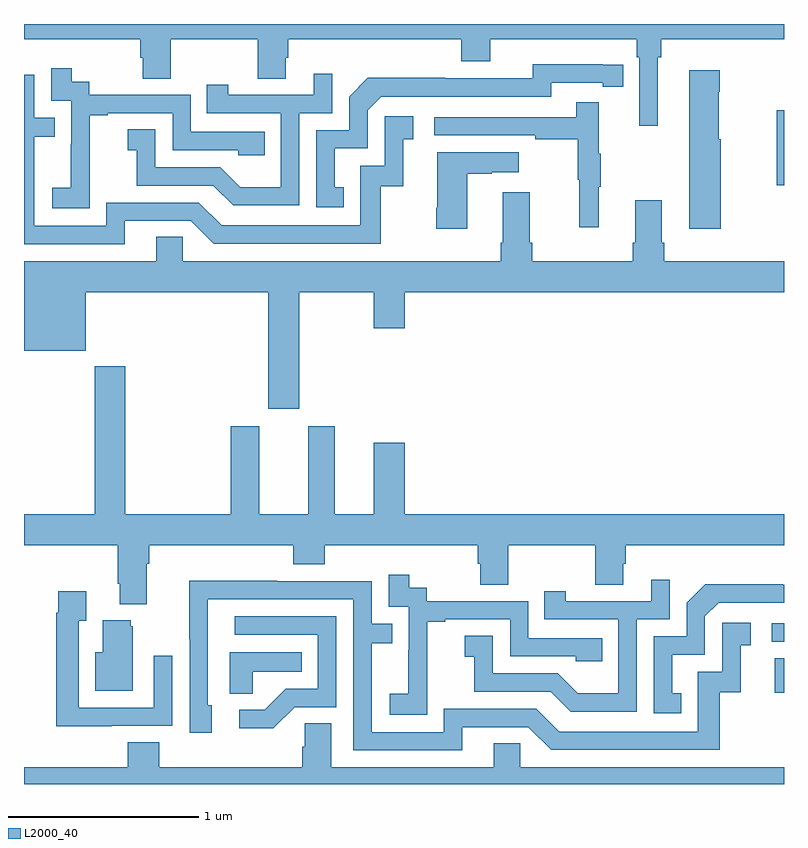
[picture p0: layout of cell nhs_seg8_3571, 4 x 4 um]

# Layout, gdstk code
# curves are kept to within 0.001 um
import gdstk
lib = gdstk.Library(unit=1e-6, precision=1e-09)
def R(c, l, rs):  # rectangles x0, y0, x1, y1
    for r in rs: c.add(gdstk.rectangle(r[:2], r[2:], *l))
def P(c, l, *ps):  # polygons
    for p in ps: c.add(gdstk.Polygon(p, *l))
L2000_40 = (2000, 40)

nhs_seg8_3571 = lib.new_cell('nhs_seg8_3571')
R(nhs_seg8_3571, L2000_40, [(334.952,1126.38,335,1126.561), (334.935,1126.65,335,1126.746), (334.963,1129.051,335,1129.447)])
P(nhs_seg8_3571, L2000_40, [(334.336,1129.724),(334.355,1129.724),(334.355,1129.82),(335,1129.82),(335,1129.9),(331,1129.9),(331,1129.82),(331.613,1129.82),(331.613,1129.722),(331.625,1129.722),(331.625,1129.612),(331.773,1129.612),(331.773,1129.82),(332.23,1129.82),(332.23,1129.612),(332.377,1129.612),(332.377,1129.722),(332.39,1129.722),(332.39,1129.82),(333.302,1129.82),(333.302,1129.703),(333.454,1129.703),(333.454,1129.82),(334.226,1129.82),(334.226,1129.724),(334.239,1129.724),(334.239,1129.365),(334.336,1129.365)],
  [(332.684,1129.041),(332.635,1129.041),(332.635,1129.245),(332.808,1129.245),(332.808,1129.446),(332.88,1129.518),(333.774,1129.518),(333.774,1129.59),(334.046,1129.59),(334.046,1129.57),(334.154,1129.57),(334.154,1129.686),(333.678,1129.687),(333.678,1129.614),(333.218,1129.614),(333.218,1129.616),(332.81,1129.616),(332.712,1129.518),(332.712,1129.341),(332.538,1129.341),(332.538,1128.936),(332.684,1128.936)],
  [(331.347,1129.135),(331.346,1129.135),(331.346,1129.419),(331.441,1129.419),(331.441,1129.431),(331.782,1129.431),(331.782,1129.236),(332.127,1129.236),(332.127,1129.209),(332.267,1129.209),(332.267,1129.332),(331.878,1129.332),(331.878,1129.527),(331.344,1129.527),(331.344,1129.596),(331.252,1129.596),(331.252,1129.666),(331.143,1129.666),(331.143,1129.497),(331.248,1129.497),(331.248,1129.268),(331.247,1129.268),(331.247,1129.039),(331.149,1129.039),(331.149,1128.929),(331.347,1128.929)],
  [(334.666,1129.293),(334.656,1129.293),(334.656,1129.544),(334.661,1129.544),(334.661,1129.657),(334.502,1129.657),(334.502,1128.822),(334.666,1128.822)],
  [(332.448,1129.431),(332.622,1129.431),(332.622,1129.639),(332.525,1129.639),(332.525,1129.527),(332.074,1129.527),(332.074,1129.579),(331.963,1129.579),(331.963,1129.431),(332.352,1129.431),(332.352,1129.042),(332.138,1129.042),(332.034,1129.146),(331.692,1129.146),(331.692,1129.345),(331.545,1129.345),(331.545,1129.235),(331.594,1129.235),(331.594,1129.05),(331.997,1129.05),(332.102,1128.945),(332.448,1128.945)],
  [(331.531,1128.864),(331.878,1128.864),(331.998,1128.744),(332.878,1128.744),(332.878,1129.047),(332.996,1129.047),(332.996,1129.293),(333.049,1129.293),(333.049,1129.414),(332.898,1129.414),(332.898,1129.155),(332.769,1129.155),(332.769,1128.84),(332.04,1128.84),(331.92,1128.96),(331.434,1128.96),(331.434,1128.837),(331.053,1128.837),(331.053,1129.306),(331.163,1129.306),(331.163,1129.407),(331.053,1129.407),(331.053,1129.632),(331,1129.632),(331,1128.741),(331.531,1128.741)],
  [(334.025,1129.043),(334.036,1129.043),(334.036,1129.217),(334.025,1129.217),(334.025,1129.489),(333.907,1129.489),(333.907,1129.41),(333.159,1129.41),(333.159,1129.314),(333.691,1129.314),(333.691,1129.294),(333.915,1129.294),(333.915,1129.08),(333.922,1129.08),(333.922,1128.831),(334.025,1128.831)],
  [(333.334,1129.111),(333.461,1129.111),(333.461,1129.121),(333.604,1129.121),(333.604,1129.225),(333.176,1129.225),(333.176,1128.934),(333.169,1128.934),(333.169,1128.822),(333.334,1128.822)],
  [(332.449,1128.488),(332.84,1128.488),(332.84,1128.3),(333.004,1128.3),(333.004,1128.488),(335,1128.488),(335,1128.652),(334.37,1128.652),(334.37,1128.748),(334.357,1128.748),(334.357,1128.973),(334.217,1128.973),(334.217,1128.748),(334.205,1128.748),(334.205,1128.652),(333.674,1128.652),(333.674,1128.748),(333.661,1128.748),(333.661,1129.015),(333.521,1129.015),(333.521,1128.748),(333.509,1128.748),(333.509,1128.652),(331.836,1128.652),(331.836,1128.779),(331.697,1128.779),(331.697,1128.652),(331,1128.652),(331,1128.179),(331.324,1128.179),(331.324,1128.488),(332.285,1128.488),(332.285,1127.874),(332.449,1127.874)],
  [(331.493,1126.954),(331.505,1126.954),(331.505,1126.847),(331.645,1126.847),(331.645,1127.06),(331.658,1127.06),(331.658,1127.156),(332.417,1127.156),(332.417,1127.057),(332.582,1127.057),(332.582,1127.156),(333.389,1127.156),(333.389,1127.058),(333.401,1127.058),(333.401,1126.948),(333.549,1126.948),(333.549,1127.156),(334.006,1127.156),(334.006,1126.948),(334.153,1126.948),(334.153,1127.058),(334.166,1127.058),(334.166,1127.156),(335,1127.156),(335,1127.32),(333.004,1127.32),(333.004,1127.695),(332.84,1127.695),(332.84,1127.32),(332.635,1127.32),(332.635,1127.782),(332.495,1127.782),(332.495,1127.32),(332.239,1127.32),(332.239,1127.782),(332.087,1127.782),(332.087,1127.32),(331.532,1127.32),(331.532,1128.1),(331.372,1128.1),(331.372,1127.32),(331,1127.32),(331,1127.156),(331.493,1127.156)],
  [(333.123,1126.471),(333.122,1126.471),(333.122,1126.755),(333.217,1126.755),(333.217,1126.767),(333.558,1126.767),(333.558,1126.572),(333.903,1126.572),(333.903,1126.545),(334.043,1126.545),(334.043,1126.668),(333.654,1126.668),(333.654,1126.863),(333.12,1126.863),(333.12,1126.932),(333.028,1126.932),(333.028,1127.002),(332.919,1127.002),(332.919,1126.833),(333.024,1126.833),(333.024,1126.604),(333.023,1126.604),(333.023,1126.375),(332.925,1126.375),(332.925,1126.265),(333.123,1126.265)],
  [(334.224,1126.767),(334.398,1126.767),(334.398,1126.975),(334.301,1126.975),(334.301,1126.863),(333.85,1126.863),(333.85,1126.915),(333.739,1126.915),(333.739,1126.767),(334.128,1126.767),(334.128,1126.378),(333.914,1126.378),(333.81,1126.482),(333.468,1126.482),(333.468,1126.681),(333.321,1126.681),(333.321,1126.571),(333.37,1126.571),(333.37,1126.386),(333.773,1126.386),(333.878,1126.281),(334.224,1126.281)],
  [(333.307,1126.2),(333.654,1126.2),(333.774,1126.08),(334.661,1126.08),(334.661,1126.383),(334.772,1126.383),(334.772,1126.629),(334.825,1126.629),(334.825,1126.75),(334.674,1126.75),(334.674,1126.491),(334.545,1126.491),(334.545,1126.176),(333.816,1126.176),(333.696,1126.296),(333.21,1126.296),(333.21,1126.173),(332.829,1126.173),(332.829,1126.642),(332.939,1126.642),(332.939,1126.743),(332.829,1126.743),(332.829,1126.968),(332.333,1126.968),(332.333,1126.97),(331.87,1126.97),(331.87,1126.663),(331.872,1126.663),(331.872,1126.17),(331.987,1126.17),(331.987,1126.314),(331.968,1126.314),(331.968,1126.872),(332.733,1126.872),(332.733,1126.077),(333.307,1126.077)],
  [(334.46,1126.377),(334.411,1126.377),(334.411,1126.581),(334.584,1126.581),(334.584,1126.782),(334.656,1126.854),(335,1126.854),(335,1126.95),(334.994,1126.95),(334.994,1126.952),(334.586,1126.952),(334.488,1126.854),(334.488,1126.677),(334.314,1126.677),(334.314,1126.272),(334.46,1126.272)],
  [(331.463,1126.206),(331.779,1126.206),(331.779,1126.576),(331.683,1126.576),(331.683,1126.302),(331.287,1126.302),(331.287,1126.759),(331.327,1126.759),(331.327,1126.915),(331.179,1126.915),(331.179,1126.802),(331.171,1126.802),(331.171,1126.205),(331.463,1126.205)],
  [(332.424,1126.305),(332.643,1126.305),(332.643,1126.782),(332.109,1126.782),(332.109,1126.686),(332.547,1126.686),(332.547,1126.401),(332.378,1126.401),(332.267,1126.29),(332.133,1126.29),(332.133,1126.193),(332.311,1126.193)],
  [(331.573,1126.731),(331.562,1126.731),(331.562,1126.762),(331.415,1126.762),(331.415,1126.594),(331.376,1126.594),(331.376,1126.391),(331.573,1126.391)],
  [(332.205,1126.49),(332.462,1126.49),(332.462,1126.594),(332.084,1126.594),(332.084,1126.375),(332.205,1126.375)],
  [(335,1125.988),(333.612,1125.988),(333.612,1126.115),(333.473,1126.115),(333.473,1125.988),(332.617,1125.988),(332.617,1126.22),(332.478,1126.22),(332.478,1126.097),(332.465,1126.097),(332.465,1125.988),(331.712,1125.988),(331.712,1126.121),(331.547,1126.121),(331.547,1125.988),(331,1125.988),(331,1125.9),(335,1125.9)])

lib.write_gds('nhs_seg8_3571.gds')
